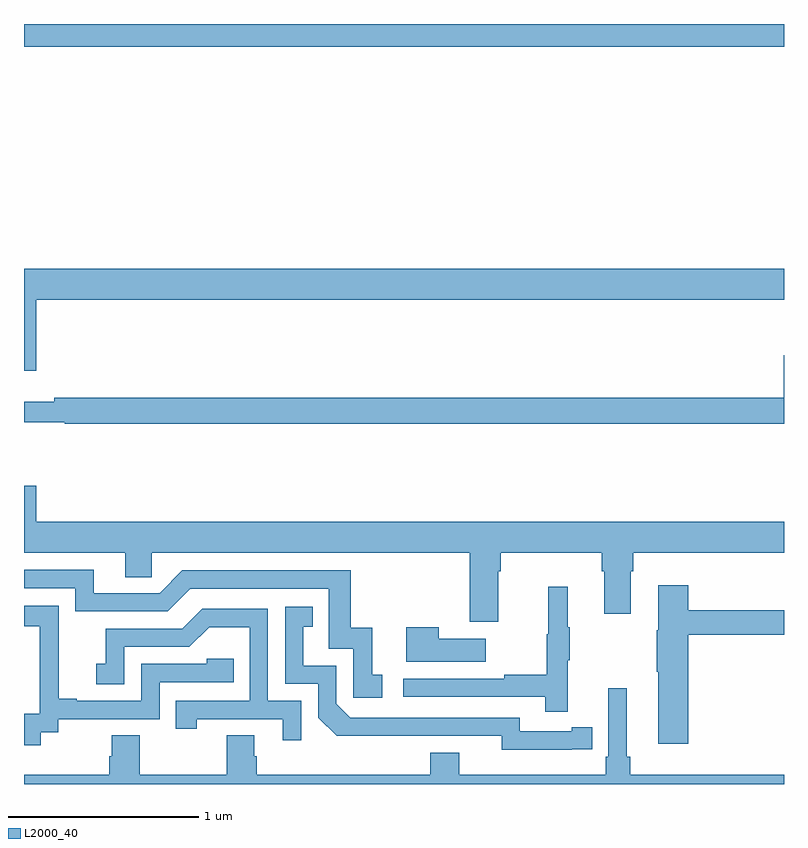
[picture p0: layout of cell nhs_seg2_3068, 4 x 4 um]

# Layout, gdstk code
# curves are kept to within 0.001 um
import gdstk
lib = gdstk.Library(unit=1e-6, precision=1e-09)
def R(c, l, rs):  # rectangles x0, y0, x1, y1
    for r in rs: c.add(gdstk.rectangle(r[:2], r[2:], *l))
def P(c, l, *ps):  # polygons
    for p in ps: c.add(gdstk.Polygon(p, *l))
L2000_40 = (2000, 40)

nhs_seg2_3068 = lib.new_cell('nhs_seg2_3068')
R(nhs_seg2_3068, L2000_40, [(273,603.68,277,603.8)])
P(nhs_seg2_3068, L2000_40, [(273.064,602.348),(277,602.348),(277,602.512),(273,602.512),(273,601.974),(273.064,601.974)],
  [(277,602.056),(276.998,602.056),(276.998,601.832),(273.16,601.832),(273.16,601.813),(273,601.813),(273,601.704),(273.214,601.704),(273.214,601.696),(277,601.696)],
  [(275.497,600.92),(275.51,600.92),(275.51,601.016),(276.041,601.016),(276.041,600.92),(276.053,600.92),(276.053,600.696),(276.193,600.696),(276.193,600.92),(276.206,600.92),(276.206,601.016),(277,601.016),(277,601.18),(273.064,601.18),(273.064,601.369),(273,601.369),(273,601.016),(273.533,601.016),(273.533,600.889),(273.672,600.889),(273.672,601.016),(275.345,601.016),(275.345,600.654),(275.497,600.654)],
  [(274.885,600.375),(274.832,600.375),(274.832,600.622),(274.721,600.622),(274.721,600.924),(273.834,600.924),(273.714,600.804),(273.367,600.804),(273.367,600.927),(273,600.927),(273,600.831),(273.27,600.831),(273.27,600.708),(273.756,600.708),(273.876,600.828),(274.605,600.828),(274.605,600.513),(274.734,600.513),(274.734,600.255),(274.885,600.255)],
  [(276.497,600.586),(277,600.586),(277,600.715),(276.497,600.715),(276.497,600.847),(276.338,600.847),(276.338,600.609),(276.331,600.609),(276.331,600.391),(276.338,600.391),(276.338,600.012),(276.497,600.012)],
  [(275.861,600.451),(275.872,600.451),(275.872,600.625),(275.861,600.625),(275.861,600.838),(275.758,600.838),(275.758,600.588),(275.751,600.588),(275.751,600.374),(275.527,600.374),(275.527,600.354),(274.995,600.354),(274.995,600.258),(275.743,600.258),(275.743,600.18),(275.861,600.18)],
  [(273.088,600.073),(273.18,600.073),(273.18,600.141),(273.714,600.141),(273.714,600.336),(274.103,600.336),(274.103,600.459),(273.963,600.459),(273.963,600.432),(273.618,600.432),(273.618,600.237),(273.277,600.237),(273.277,600.25),(273.182,600.25),(273.182,600.533),(273.183,600.533),(273.183,600.739),(273,600.739),(273,600.629),(273.083,600.629),(273.083,600.401),(273.084,600.401),(273.084,600.171),(273,600.171),(273,600.003),(273.088,600.003)],
  [(275.882,599.982),(275.99,599.982),(275.99,600.098),(275.882,600.098),(275.882,600.078),(275.61,600.078),(275.61,600.15),(274.716,600.15),(274.644,600.222),(274.644,600.423),(274.471,600.423),(274.471,600.627),(274.52,600.627),(274.52,600.733),(274.374,600.733),(274.374,600.327),(274.548,600.327),(274.548,600.15),(274.646,600.053),(275.514,600.054),(275.514,599.981)],
  [(274.458,600.237),(274.284,600.237),(274.284,600.723),(273.938,600.723),(273.833,600.618),(273.43,600.618),(273.43,600.433),(273.381,600.433),(273.381,600.324),(273.528,600.324),(273.528,600.522),(273.87,600.522),(273.974,600.626),(274.188,600.626),(274.188,600.237),(273.799,600.237),(273.799,600.09),(273.91,600.09),(273.91,600.141),(274.361,600.141),(274.361,600.03),(274.458,600.03)],
  [(275.431,600.565),(275.183,600.565),(275.183,600.625),(275.012,600.625),(275.012,600.443),(275.431,600.443)],
  [(277,599.848),(276.191,599.848),(276.191,599.944),(276.172,599.944),(276.172,600.304),(276.075,600.304),(276.075,599.944),(276.062,599.944),(276.062,599.848),(275.29,599.848),(275.29,599.965),(275.138,599.965),(275.138,599.848),(274.226,599.848),(274.226,599.946),(274.213,599.946),(274.213,600.056),(274.066,600.056),(274.066,599.848),(273.609,599.848),(273.609,600.056),(273.461,600.056),(273.461,599.946),(273.449,599.946),(273.449,599.848),(273,599.848),(273,599.8),(277,599.8)])

lib.write_gds('nhs_seg2_3068.gds')
